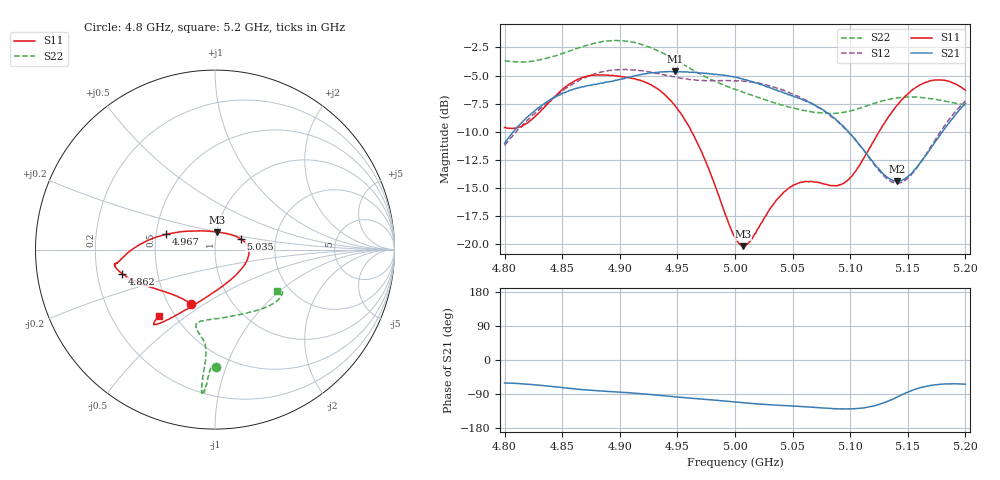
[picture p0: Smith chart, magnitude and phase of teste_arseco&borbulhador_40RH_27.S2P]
! Network Analyzer HP8722D
! Hewlett-Packard
! Data name: Linha & Wilkinson
! Saver's name: Rodrigo Anjos
! Comments: Teste da utilização de aquisição
! continua pelo VNA HP8722D
! Time and date: 15/4/2025 16:34
!  Frequency  S11  S21  S12  S22
# HZ  S  MA R 50
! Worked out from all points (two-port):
!   401 points, 4.8 GHz to 5.2 GHz, reference 50 ohm
!   highest |S21| = -4.64 dB at 4.948 GHz (marker M1); lowest = -14.4 dB at 5.141 GHz (marker M2)
!   |S21| within 3 dB of the highest: 4.832 GHz to 5.069 GHz (236.9 MHz wide, 4.79 % of centre); 5.198596 GHz to end of sweep
!   lowest |S11| = -20.2 dB at 5.007 GHz (marker M3), VSWR 1.22, Z = 50.1 + j9.88 ohm
!   |S11| at or under -10 dB: 4.962 GHz to 5.125 GHz (162.6 MHz wide, 3.22 % of centre)
!   |S22| runs from -8.4 to -1.9 dB; largest |S21 - S12| = 0.88
!   S11 on the Smith chart (normalised r, x): 4.8 GHz: 0.65, -0.44; 4.862 GHz: 0.31, -0.12; 4.967 GHz: 0.57, +0.10; 5.035 GHz: 1.32, +0.16; 5.2 GHz: 0.41, -0.40
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4.8e9  0.3306 -113.7  0.2811 -60.6  0.2748 -175.0  0.6542 -89.5
4.819e9  0.3447 -133.5  0.3653 -63.7  0.3524 -173.2  0.6478 -91.2
4.862e9  0.5359 -165.5  0.4935 -76.5  0.5266 -176.4  0.7413 -93.5
4.867e9  0.5496 -167.5  0.5005 -78.2  0.5416 -177.2  0.7534 -93.6
4.902e9  0.5544 -172.2  0.5432 -85.4  0.5983 175.5  0.8022 -95.0
4.934e9  0.4863 -177.9  0.5819 -93.3  0.5734 171.9  0.7195 -95.5
4.948e9  0.4122 175.4  0.5863 -97.3  0.5545 172.1  0.6606 -95.2
4.967e9  0.285 162.6  0.5796 -102.0  0.5352 174.0  0.5803 -94.9
5e9  0.1078 107.5  0.5541 -110.9  0.5332 176.4  0.4876 -99.3
5.007e9  0.09817 83.6  0.5418 -112.7  0.5305 176.5  0.4733 -100.9
5.014e9  0.1043 61.6  0.5298 -114.6  0.5278 176.3  0.4611 -102.4
5.035e9  0.1549 23.1  0.4862 -118.9  0.4965 175.2  0.4248 -103.8
5.049e9  0.1808 8.3  0.4572 -121.3  0.4675 174.6  0.4044 -100.9
5.067e9  0.1901 -11.1  0.4201 -124.6  0.4229 174.0  0.3873 -91.9
5.087e9  0.1819 -43.5  0.3604 -128.5  0.3584 173.8  0.3818 -77.0
5.097e9  0.1907 -64.7  0.3223 -129.1  0.3207 174.5  0.3885 -68.6
5.134e9  0.3728 -116.0  0.1954 -106.9  0.192 -159.9  0.4412 -43.3
5.141e9  0.4161 -119.8  0.1905 -97.4  0.1873 -148.8  0.4474 -40.2
5.153e9  0.4813 -124.8  0.2062 -81.1  0.204 -130.3  0.4519 -35.9
5.17e9  0.5328 -128.5  0.2676 -67.0  0.2722 -113.0  0.444 -32.1
5.184e9  0.5321 -129.8  0.3375 -63.0  0.3483 -107.1  0.4314 -31.1
5.2e9  0.4832 -130.3  0.4223 -63.9  0.4338 -106.0  0.4155 -33.4
